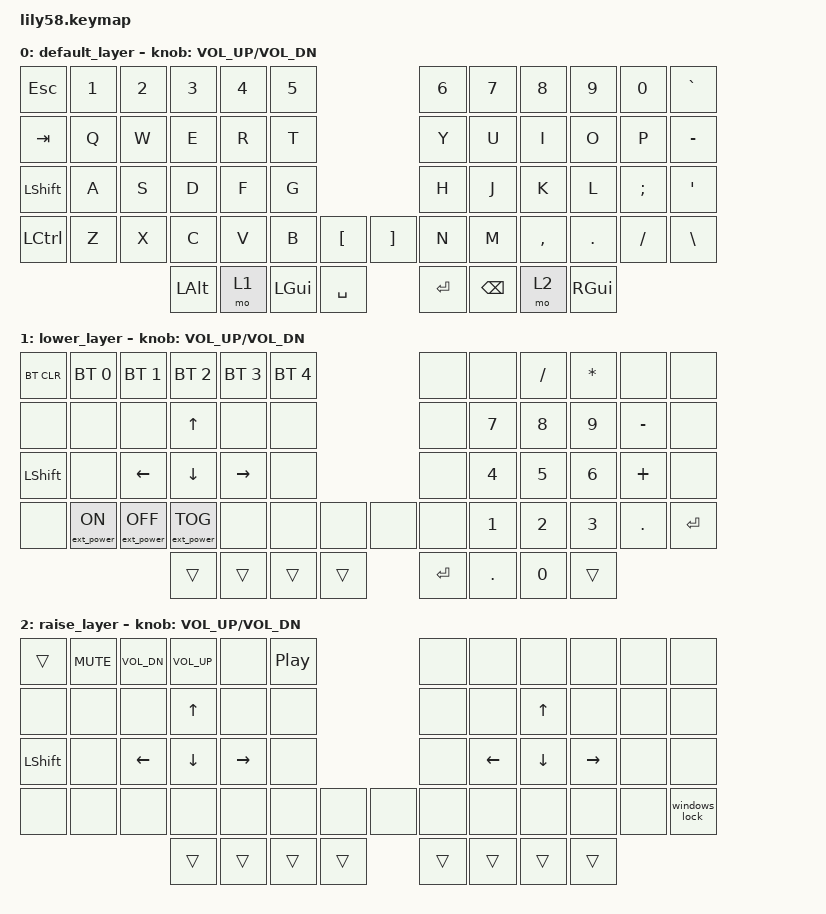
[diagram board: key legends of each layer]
/*
 * Copyright (c) 2020 The ZMK Contributors
 *
 * SPDX-License-Identifier: MIT
 */

#include <behaviors.dtsi>
#include <dt-bindings/zmk/keys.h>
#include <dt-bindings/zmk/bt.h>
#include <dt-bindings/zmk/ext_power.h>

/ {
    macros {
        windows_lock: windows_lock {
            compatible = "zmk,behavior-macro";
            #binding-cells = <0>;
            bindings 
                = <
                    &macro_press &kp LC(LALT)
                    &macro_tap &kp DEL
                    &macro_release &kp LC(LALT)
                    &macro_wait_time 750
                    &macro_tap &kp SPACE
                    &macro_tap &kp RET
                >
            ;
        };
    };
};

/ {
    keymap {
        compatible = "zmk,keymap";

        default_layer {
// ------------------------------------------------------------------------------------------------------------
// |  ESC  |  1  |  2  |  3   |  4   |  5   |                   |  6   |  7    |  8    |  9   |   0   |   `   |
// |  TAB  |  Q  |  W  |  E   |  R   |  T   |                   |  Y   |  U    |  I    |  O   |   P   |   -   |
// |  SHIFT | A  |  S  |  D   |  F   |  G   |                   |  H   |  J    |  K    |  L   |   ;   |   '   |
// |  CTRL |  Z  |  X  |  C   |  V   |  B   |   "["  |  |  "]"  |  N   |  M    |  ,    |  .   |   /   |   \   |
//                     | ALT  | LW   | GUI  |  SPACE |  | ENTER | BSPC |  RS   | GUI   |
            bindings = <
&kp ESC   &kp N1 &kp N2 &kp N3   &kp N4   &kp N5                     &kp N6 &kp N7   &kp N8    &kp N9  &kp N0   &kp GRAVE
&kp TAB   &kp Q  &kp W  &kp E    &kp R    &kp T                      &kp Y  &kp U    &kp I     &kp O   &kp P    &kp MINUS
&kp LSHFT &kp A  &kp S  &kp D    &kp F    &kp G                      &kp H  &kp J    &kp K     &kp L   &kp SEMI &kp SQT
&kp LCTRL &kp Z  &kp X  &kp C    &kp V    &kp B  &kp LBKT   &kp RBKT &kp N  &kp M    &kp COMMA &kp DOT &kp FSLH &kp BSLH
                        &kp LALT &mo 1 &kp LGUI  &kp SPACE  &kp RETURN  &kp BSPC &mo 2 &kp RGUI
            >;

            sensor-bindings = <&inc_dec_kp C_VOL_UP C_VOL_DN>;
        };

        lower_layer {
// ------------------------------------------------------------------------------------------------------------------------
// | BTCLR | BT1   | BT2    |  BT3   |  BT4   |  BT5 |                   |      |       |  /    |  *    |        |        |
// |  F1   |  F2   |  F3    |  UP    |  F5    |  F6  |                   |  F7  |  N7   |  N8   |  N9   |   -    |  F12   |
// |   `   |  !    |  LEFT  |  DOWN  |  RIGHT |  %   |                   |  ^   |  N4   |  N5   |  N6   |   +    |   ~    |
// |       | EP_ON | EP_OFF | EP_TOG |        |      |        |  |       |  N0  |  N1   |  N2   |  N3   |        |        |
//                          |        |        |      |        |  | ENTER |  .   |  N0   |       |
            bindings = <
&bt BT_CLR  &bt BT_SEL 0      &bt BT_SEL 1        &bt BT_SEL 2        &bt BT_SEL 3 &bt BT_SEL 4                   &none     &none     &kp SLASH &kp STAR   &none         &none
&none       &none             &none               &kp UP              &none        &none                          &none     &kp N7    &kp N8    &kp N9     &kp MINUS     &none
&kp LSHFT   &none             &kp LEFT            &kp DOWN            &kp RIGHT    &none                          &none     &kp N4    &kp N5    &kp N6     &kp PLUS      &none
&none       &ext_power EP_ON  &ext_power EP_OFF   &ext_power EP_TOG   &none        &none    &none     &none       &none     &kp N1    &kp N2    &kp N3     &kp DOT       &kp ENTER
                            &trans  &trans  &trans                                          &trans    &kp RETURN  &kp DOT   &kp N0    &trans
            >;

            sensor-bindings = <&inc_dec_kp C_VOL_UP C_VOL_DN>;
        };

        raise_layer {
// ----------------------------------------------------------------------------------------------------------------------
// |  ESC  | mute|vol-d|vol-up|      | PnP  |                   |      |       |       |      |       |                 |
// |   `   |  1  |     |  ^   |  4   |  5   |                   |  6   |   7   |   8   |  9   |   0   |                 |
// | SHIFT |     |  <- |  v   |  ->  |  F6  |                   |      |   <-  |   v   |  ^   |  ->   |                 |
// |   F7  |  F8 |  F9 |  F10 |  F11 |  F12 |        |  |       |  +   |   -   |   =   |  [   |   ]   |  windows_lock   |
//                     |      |      |      |        |  |       |      |       |       |
            bindings = <
&trans    &kp C_MUTE  &kp C_VOL_DN &kp C_VOL_UP  &none      &kp C_PP                        &none       &none       &none        &none         &none   &none
&none     &none       &none        &kp UP        &none      &none                           &none       &none       &kp UP       &none         &none   &none
&kp LSHFT &none       &kp LEFT     &kp DOWN      &kp RIGHT  &none                           &none       &kp LEFT    &kp DOWN     &kp RIGHT     &none   &none
&none     &none       &none        &none         &none      &none     &none     &none       &none       &none       &none        &none         &none   &windows_lock
                      &trans       &trans        &trans     &trans    &trans    &trans      &trans      &trans
            >;

            sensor-bindings = <&inc_dec_kp C_VOL_UP C_VOL_DN>;
        };
    };
};
